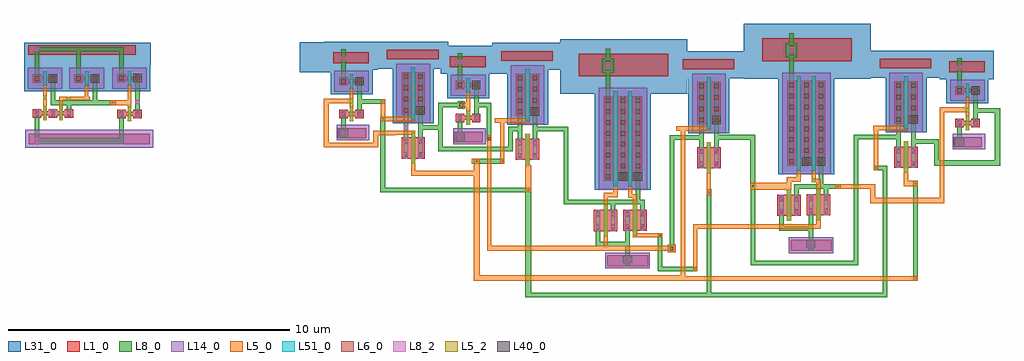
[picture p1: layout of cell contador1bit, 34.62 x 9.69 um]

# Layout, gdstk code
import gdstk
lib = gdstk.Library(unit=1e-6, precision=5e-09)
def R(c, l, rs):  # rectangles x0, y0, x1, y1
    for r in rs: c.add(gdstk.rectangle(r[:2], r[2:], *l))
def A(c, l, x, y, w, h, nx, ny, dx, dy):  # array of equal rectangles
    R(c, l, [(x+i*dx, y+j*dy, x+i*dx+w, y+j*dy+h) for i in range(nx) for j in range(ny)])
L1_0 = (1, 0)
L5_0 = (5, 0)
L5_2 = (5, 2)
L6_0 = (6, 0)
L8_0 = (8, 0)
L8_2 = (8, 2)
L14_0 = (14, 0)
L31_0 = (31, 0)
L40_0 = (40, 0)
L51_0 = (51, 0)

pmos = lib.new_cell('pmos')
R(pmos, L1_0, [(0,0,0.3,0.3), (0.57,0,0.87,0.3), (0,0.075,0.87,0.225)])
R(pmos, L5_0, [(0.37,-0.105,0.5,0.405), (0.37,-0.105,0.5,0.405)])
R(pmos, L6_0, [(0.07,0.07,0.23,0.23), (0.64,0.07,0.8,0.23)])
R(pmos, L8_0, [(0.07,0.02,0.23,0.28), (0.07,0.02,0.23,0.28), (0.64,0.02,0.8,0.28), (0.64,0.02,0.8,0.28)])
R(pmos, L14_0, [(-0.18,-0.225,1.05,0.525)])
R(pmos, L31_0, [(-0.31,-0.31,1.18,0.61)])
R(pmos, L40_0, [(0.57,0,0.87,0.3)])
R(pmos, L51_0, [(0.37,-0.105,0.5,0.405)])
pmos.add(gdstk.Label('pmos', (0.435,0.15), layer=63, texttype=0))
pmos.add(gdstk.Label('pmos', (0.435,0.15), layer=51, texttype=0))

nmos_1 = lib.new_cell('nmos$1')
R(nmos_1, L1_0, [(0,0,0.3,0.3), (0.57,0,0.87,0.3), (0,0.075,0.87,0.225)])
R(nmos_1, L5_0, [(0.37,-0.105,0.5,0.405)])
R(nmos_1, L5_2, [(0.37,-0.105,0.5,0.405)])
R(nmos_1, L6_0, [(0.07,0.07,0.23,0.23), (0.64,0.07,0.8,0.23)])
R(nmos_1, L8_0, [(0.07,0.02,0.23,0.28), (0.64,0.02,0.8,0.28)])
R(nmos_1, L8_2, [(0.07,0.02,0.23,0.28), (0.64,0.02,0.8,0.28)])
R(nmos_1, L51_0, [(0.37,-0.105,0.5,0.405)])
nmos_1.add(gdstk.Label('nmos', (0.435,0.15), layer=63, texttype=0))
nmos_1.add(gdstk.Label('nmos', (0.435,0.15), layer=51, texttype=0))

inversor = lib.new_cell('inversor')
R(inversor, L1_0, [(0.69,-0.325,1.695,0.04), (0.53,2.34,1.795,2.73)])
R(inversor, L5_0, [(1.115,0.69,1.245,1.53)])
R(inversor, L6_0, [(0.815,-0.235,0.975,-0.075), (0.815,2.43,0.975,2.59)])
R(inversor, L8_0, [(0.735,-0.31,1.065,-0.005), (0.815,-0.28,0.975,0.54), (1.385,0.54,1.545,1.735), (0.815,1.7,0.975,2.835)])
R(inversor, L8_2, [(0.815,-0.235,0.975,-0.075), (0.815,2.43,0.975,2.59)])
R(inversor, L14_0, [(0.655,-0.395,1.81,0.165)])
R(inversor, L31_0, [(0.2,2.1,2.115,3.095)])
inversor.add(gdstk.Reference(pmos, (0.745,1.55)))
inversor.add(gdstk.Reference(nmos_1, (0.745,0.39)))
inversor.add(gdstk.Label('Vss', (0.905,-0.165), layer=8, texttype=2))
inversor.add(gdstk.Label('Vdd', (0.87,2.535), layer=8, texttype=2))

pmos_1_1 = lib.new_cell('pmos$1$1')
R(pmos_1_1, L1_0, [(0,0,0.3,0.3), (0,0,0.83,3), (0.53,0,0.83,0.3)])
R(pmos_1_1, L5_0, [(0.34,-0.18,0.49,3.18), (0.34,-0.18,0.49,3.18)])
A(pmos_1_1, L6_0, 0.07, 0.07, 0.16, 0.16, 1, 7, 0, 0.385)
A(pmos_1_1, L6_0, 0.6, 0.07, 0.16, 0.16, 1, 7, 0, 0.385)
R(pmos_1_1, L6_0, [(0.07,2.77,0.23,2.93), (0.6,2.77,0.76,2.93)])
R(pmos_1_1, L8_0, [(0.07,0,0.23,3), (0.07,0,0.23,3), (0.6,0,0.76,3), (0.6,0,0.76,3)])
R(pmos_1_1, L14_0, [(-0.18,-0.3,1.01,3.3)])
R(pmos_1_1, L31_0, [(-0.31,-0.31,1.14,3.31)])
R(pmos_1_1, L40_0, [(0.53,0,0.83,0.3)])
R(pmos_1_1, L51_0, [(0.34,-0.18,0.49,3.18)])
pmos_1_1.add(gdstk.Label('pmos', (0.415,1.5), layer=63, texttype=0))
pmos_1_1.add(gdstk.Label('pmos', (0.415,1.5), layer=51, texttype=0))

nmos_1_1 = lib.new_cell('nmos$1$1')
R(nmos_1_1, L1_0, [(0,0,0.3,0.3), (0,0,0.83,0.75), (0.53,0,0.83,0.3)])
R(nmos_1_1, L5_0, [(0.34,-0.18,0.49,0.93)])
R(nmos_1_1, L5_2, [(0.34,-0.18,0.49,0.93)])
R(nmos_1_1, L6_0, [(0.07,0.07,0.23,0.23), (0.6,0.07,0.76,0.23), (0.07,0.52,0.23,0.68), (0.6,0.52,0.76,0.68)])
R(nmos_1_1, L8_0, [(0.07,0,0.23,0.75), (0.6,0,0.76,0.75)])
R(nmos_1_1, L8_2, [(0.07,0,0.23,0.75), (0.6,0,0.76,0.75)])
R(nmos_1_1, L51_0, [(0.34,-0.18,0.49,0.93)])
nmos_1_1.add(gdstk.Label('nmos', (0.415,0.375), layer=63, texttype=0))
nmos_1_1.add(gdstk.Label('nmos', (0.415,0.375), layer=51, texttype=0))

puertanor = lib.new_cell('puertanor')
R(puertanor, L1_0, [(8.035,3.76,9.485,4.155), (7.02,10.49,10.2,11.295)])
R(puertanor, L5_0, [(7.905,5.935,8.055,6.365), (8.945,5.95,9.095,6.305), (8.78,6.185,9.095,6.315), (8.78,6.19,8.92,7.01), (7.905,6.21,8.4,6.365), (8.25,6.21,8.4,7.035)])
R(puertanor, L6_0, [(8.675,3.945,8.835,4.075), (7.98,10.705,8.14,11.045)])
R(puertanor, L8_0, [(8.675,3.76,8.835,5.385), (8.58,3.875,8.915,4.13), (7.635,4.465,8.835,4.63), (7.635,4.465,7.795,5.125), (9.205,5.57,9.365,6.045), (8.165,5.755,8.325,6.045), (8.165,5.96,9.365,6.12), (9.04,5.96,9.2,6.87), (7.98,9.635,8.14,11.475), (7.855,10.62,8.26,11.12)])
R(puertanor, L8_2, [(8.675,3.945,8.835,4.075), (7.98,10.755,8.14,11)])
R(puertanor, L14_0, [(7.96,3.68,9.55,4.245)])
R(puertanor, L31_0, [(6.37,9.87,10.88,11.81)])
puertanor.add(gdstk.Reference(pmos_1_1, (7.91,6.785)))
puertanor.add(gdstk.Reference(nmos_1_1, (8.605,5.02)))
puertanor.add(gdstk.Reference(nmos_1_1, (7.565,5.005)))
puertanor.add(gdstk.Reference(pmos_1_1, (8.44,6.785)))
puertanor.add(gdstk.Label('Vss', (8.74,4.01), layer=8, texttype=2))
puertanor.add(gdstk.Label('vdd', (8.06,10.865), layer=8, texttype=2))

nmos = lib.new_cell('nmos')
R(nmos, L1_0, [(0,0,0.3,0.3), (0,0,0.83,0.75), (0.53,0,0.83,0.3)])
R(nmos, L5_0, [(0.34,-0.18,0.49,0.93)])
R(nmos, L5_2, [(0.34,-0.18,0.49,0.93)])
R(nmos, L6_0, [(0.07,0.07,0.23,0.23), (0.6,0.07,0.76,0.23), (0.07,0.52,0.23,0.68), (0.6,0.52,0.76,0.68)])
R(nmos, L8_0, [(0.07,0,0.23,0.75), (0.6,0,0.76,0.75)])
R(nmos, L8_2, [(0.07,0,0.23,0.75), (0.6,0,0.76,0.75)])
R(nmos, L51_0, [(0.34,-0.18,0.49,0.93)])
nmos.add(gdstk.Label('nmos', (0.415,0.375), layer=63, texttype=0))
nmos.add(gdstk.Label('nmos', (0.415,0.375), layer=51, texttype=0))

pmos_1 = lib.new_cell('pmos$1')
R(pmos_1, L1_0, [(0,0,0.3,0.3), (0,0,0.83,1.5), (0.53,0,0.83,0.3)])
R(pmos_1, L5_0, [(0.34,-0.18,0.49,1.68), (0.34,-0.18,0.49,1.68)])
A(pmos_1, L6_0, 0.07, 0.07, 0.16, 0.16, 1, 4, 0, 0.4)
A(pmos_1, L6_0, 0.6, 0.07, 0.16, 0.16, 1, 4, 0, 0.4)
R(pmos_1, L8_0, [(0.07,0,0.23,1.5), (0.07,0,0.23,1.5), (0.6,0,0.76,1.5), (0.6,0,0.76,1.5)])
R(pmos_1, L14_0, [(-0.18,-0.3,1.01,1.8)])
R(pmos_1, L31_0, [(-0.31,-0.31,1.14,1.81)])
R(pmos_1, L40_0, [(0.53,0,0.83,0.3)])
R(pmos_1, L51_0, [(0.34,-0.18,0.49,1.68)])
pmos_1.add(gdstk.Label('pmos', (0.415,0.75), layer=63, texttype=0))
pmos_1.add(gdstk.Label('pmos', (0.415,0.75), layer=51, texttype=0))

interruptor = lib.new_cell('interruptor')
R(interruptor, L1_0, [(2.655,5.625,4.49,5.965)])
R(interruptor, L5_0, [(2.425,3.43,3.665,3.59)])
R(interruptor, L8_0, [(3.775,2.66,3.935,3.885), (3.245,2.735,3.405,4.385)])
R(interruptor, L31_0, [(2.335,5.295,4.835,6.255)])
interruptor.add(gdstk.Reference(nmos, (3.175,2.105)))
interruptor.add(gdstk.Reference(pmos_1, (3.175,3.665)))

flipflop = lib.new_cell('flipflop')
R(flipflop, L5_0, [(4.765,5.065,4.97,8.795), (4.765,5.065,12.27,5.27), (12.11,5.065,12.27,10.54), (12.11,5.065,20.515,5.225), (12.54,5.405,12.68,7.08), (11.645,6.08,11.93,6.355), (5.235,6.13,5.39,8.31), (5.235,6.13,11.865,6.315), (9.365,6.13,9.515,6.695), (10.405,6.605,11.455,6.755), (12.68,6.92,17.06,7.08), (16.91,6.92,17.06,7.21), (18.825,7.815,18.995,8.49), (18.825,7.815,21.455,8.01), (21.28,7.815,21.455,11.215), (13.025,8.105,13.175,8.88), (5.235,8.14,5.39,10.225), (6.595,8.21,6.795,9.175), (14.56,8.305,16.02,8.54), (17.59,8.33,18.995,8.49), (20.02,8.42,20.17,8.47), (20.02,8.42,20.515,8.61), (20.02,8.47,20.17,8.9), (2.54,8.795,2.69,9.225), (2.54,8.795,4.97,8.965), (4.765,8.795,4.97,9.405), (18.955,8.985,19.105,10.56), (4.685,9.225,4.955,9.405), (5.695,9.225,5.845,10.84), (-0.555,9.805,-0.39,11.525), (-0.555,9.805,1.38,9.965), (1.205,9.805,1.38,10.395), (1.205,10.235,1.975,10.395), (1.975,10.24,2.69,10.395), (1.455,10.735,1.625,11.515), (21.28,11.04,22.335,11.215), (4.24,11.225,4.63,11.39), (-0.555,11.36,0.495,11.525)])
R(flipflop, L5_2, [(16.745,8.56,16.885,8.69), (22.205,11.04,22.335,11.205), (0.365,11.355,0.495,11.525)])
R(flipflop, L6_0, [(20.43,5.135,20.45,5.155), (12.605,5.48,12.625,5.5), (11.735,6.16,11.845,6.28), (11.365,6.67,11.395,6.695), (13.095,8.2,13.115,8.225), (6.675,8.28,6.715,8.305), (17.66,8.4,17.695,8.43), (14.63,8.405,14.685,8.455), (20.435,8.5,20.455,8.535), (19.025,9.06,19.045,9.08), (4.85,9.29,4.885,9.33), (5.765,9.315,5.785,9.33), (5.255,10.075,5.365,10.165), (5.255,10.075,5.365,10.165), (1.525,10.805,1.55,10.825), (4.24,11.225,4.385,11.39), (1.525,11.43,1.56,11.455)])
R(flipflop, L8_0, [(6.59,4.49,6.795,8.21), (6.59,4.49,13.445,4.65), (13.445,4.49,19.42,4.65), (19.26,4.49,19.42,9.145), (13.025,4.65,13.185,8.32), (20.355,5.065,20.515,8.61), (11.295,5.405,11.455,6.755), (11.295,5.405,12.68,5.57), (14.58,5.615,18.395,5.775), (14.58,5.615,14.745,8.32), (18.235,5.615,18.395,10.255), (11.645,6.08,11.93,6.355), (11.705,6.13,11.865,10.235), (7.95,7.78,9.785,7.945), (7.95,7.79,8.12,10.535), (1.45,8.21,1.625,10.885), (1.45,8.21,5.84,8.37), (5.84,8.21,6.795,8.37), (14.56,8.32,14.745,10.24), (14.58,8.32,14.745,8.535), (17.16,8.33,17.77,8.49), (18.955,8.985,19.42,9.145), (21.085,9.15,21.255,10.095), (21.085,9.15,23.425,9.35), (23.245,9.15,23.425,11.185), (4.765,9.225,5.715,9.405), (5.59,9.225,5.845,9.405), (3.51,9.66,6.14,9.82), (3.51,9.66,3.67,10.585), (5.98,9.66,6.14,10.525), (20.28,9.935,21.255,10.095), (5.23,10.03,5.39,11.38), (11.705,10.07,12.915,10.235), (13.285,10.075,14.745,10.24), (18.235,10.09,19.91,10.255), (6.02,10.365,6.485,10.525), (6.855,10.37,8.12,10.535), (2.805,10.42,3.67,10.585), (3.51,10.42,3.67,11.39), (22.475,11.02,23.425,11.185), (4.19,11.17,4.44,11.44), (4.77,11.22,5.39,11.38), (3.51,11.225,4.385,11.39), (0.635,11.355,1.625,11.515)])
R(flipflop, L8_2, [(2.27,10.415,2.43,10.58)])
R(flipflop, L31_0, [(5.495,12.41,5.945,12.545)])
flipflop.add(gdstk.Reference(inversor, (3.385,10.31)))
flipflop.add(gdstk.Reference(puertanor, (1.46,1.825)))
flipflop.add(gdstk.Reference(interruptor, (-0.975,7.3)))
flipflop.add(gdstk.Reference(interruptor, (3.08,7.25)))
flipflop.add(gdstk.Reference(interruptor, (9.51,6.955)))
flipflop.add(gdstk.Reference(inversor, (21.09,10.125)))
flipflop.add(gdstk.Reference(puertanor, (7.965,2.37)))
flipflop.add(gdstk.Reference(interruptor, (16.505,6.975)))
flipflop.add(gdstk.Reference(inversor, (-0.75,10.445)))
flipflop.add(gdstk.Label('D', (2.35,10.495), layer=8, texttype=2))
flipflop.add(gdstk.Label('clk', (0.43,11.44), layer=5, texttype=2))
flipflop.add(gdstk.Label('Q', (22.27,11.12), layer=5, texttype=2))
flipflop.add(gdstk.Label('clr', (16.82,8.605), layer=5, texttype=2))

nmos_4 = lib.new_cell('nmos$4')
R(nmos_4, L1_0, [(0,0,0.3,0.3), (0.57,0,0.87,0.3), (0,0.075,0.87,0.225)])
R(nmos_4, L5_0, [(0.37,-0.105,0.5,0.405)])
R(nmos_4, L5_2, [(0.37,-0.105,0.5,0.405)])
R(nmos_4, L6_0, [(0.07,0.07,0.23,0.23), (0.64,0.07,0.8,0.23)])
R(nmos_4, L8_0, [(0.07,0.02,0.23,0.28), (0.64,0.02,0.8,0.28)])
R(nmos_4, L8_2, [(0.07,0.02,0.23,0.28), (0.64,0.02,0.8,0.28)])
R(nmos_4, L51_0, [(0.37,-0.105,0.5,0.405)])
nmos_4.add(gdstk.Label('nmos', (0.435,0.15), layer=63, texttype=0))
nmos_4.add(gdstk.Label('nmos', (0.435,0.15), layer=51, texttype=0))

pmos_4 = lib.new_cell('pmos$4')
R(pmos_4, L1_0, [(0,0,0.3,0.3), (0.57,0,0.87,0.3), (0,0.075,0.87,0.225)])
R(pmos_4, L5_0, [(0.37,-0.105,0.5,0.405), (0.37,-0.105,0.5,0.405)])
R(pmos_4, L6_0, [(0.07,0.07,0.23,0.23), (0.64,0.07,0.8,0.23)])
R(pmos_4, L8_0, [(0.07,0.02,0.23,0.28), (0.07,0.02,0.23,0.28), (0.64,0.02,0.8,0.28), (0.64,0.02,0.8,0.28)])
R(pmos_4, L14_0, [(-0.18,-0.225,1.05,0.525)])
R(pmos_4, L31_0, [(-0.31,-0.31,1.18,0.61)])
R(pmos_4, L40_0, [(0.57,0,0.87,0.3)])
R(pmos_4, L51_0, [(0.37,-0.105,0.5,0.405)])
pmos_4.add(gdstk.Label('pmos', (0.435,0.15), layer=63, texttype=0))
pmos_4.add(gdstk.Label('pmos', (0.435,0.15), layer=51, texttype=0))

and_ = lib.new_cell('and')
R(and_, L1_0, [(-0.89,-1.175,3.405,-0.815), (-0.9,1.99,2.915,2.335)])
R(and_, L5_0, [(2.62,0.15,2.75,0.905), (-0.38,0.17,-0.245,0.9), (0.19,0.17,0.32,0.495), (1.995,0.195,2.75,0.385), (0.19,0.385,1.27,0.495), (1.105,0.385,1.225,0.9)])
R(and_, L5_2, [(0.455,0.385,0.59,0.495), (-0.38,0.415,-0.245,0.535)])
R(and_, L6_0, [(-0.615,-1.085,-0.58,-1.06), (2.08,0.285,2.115,0.305), (-0.605,2.185,-0.58,2.205)])
R(and_, L8_0, [(-0.68,-1.175,-0.52,0.045), (-0.68,-1.175,2.47,-0.955), (2.32,-1.175,2.48,-0.235), (2.89,0.025,3.05,1.03), (0.46,0.045,0.62,0.385), (0.44,0.195,1.535,0.385), (1.375,0.195,1.535,1.025), (1.375,0.195,2.195,0.385), (-0.105,0.205,0.055,1.025), (-0.105,0.205,0.68,0.385), (-0.675,1.285,-0.515,2.265), (0.79,1.285,0.965,1.435), (2.33,1.29,2.48,2.265), (0.79,1.305,0.965,2.23), (-0.675,2.115,2.455,2.265)])
R(and_, L8_2, [(-0.68,-1.175,-0.52,-0.955), (2.89,0.23,3.05,0.39), (-0.675,2.115,-0.515,2.265)])
R(and_, L14_0, [(-1.005,-1.315,3.53,-0.67)])
R(and_, L31_0, [(1.915,0.695,1.94,1.62), (-1.055,1.615,3.435,1.91), (-1.055,1.91,-1.01,2.42), (-1.01,1.91,3.435,2.42)])
and_.add(gdstk.Reference(nmos_4, (-0.75,-0.235)))
and_.add(gdstk.Reference(nmos_4, (-0.18,-0.235)))
and_.add(gdstk.Reference(pmos_4, (0.735,1.005)))
and_.add(gdstk.Reference(pmos_4, (-0.745,1.005)))
and_.add(gdstk.Reference(nmos_4, (2.25,-0.255)))
and_.add(gdstk.Reference(pmos_4, (2.25,1.01)))
and_.add(gdstk.Label('vdd', (-0.595,2.19), layer=8, texttype=2))
and_.add(gdstk.Label('vout', (2.97,0.31), layer=8, texttype=2))
and_.add(gdstk.Label('Vss', (-0.595,-1.035), layer=8, texttype=2))
and_.add(gdstk.Label('B', (-0.315,0.475), layer=5, texttype=2))
and_.add(gdstk.Label('A', (0.52,0.44), layer=5, texttype=2))

contador1bit = lib.new_cell('contador1bit')
R(contador1bit, L31_0, [(1.33,2.12,2.43,2.37), (1.335,2.36,2.195,3.18)])
contador1bit.add(gdstk.Reference(flipflop, (2.745,-10.35)))
contador1bit.add(gdstk.Reference(and_, (-7.39,0.745)))

lib.write_gds('contador1bit.gds')
